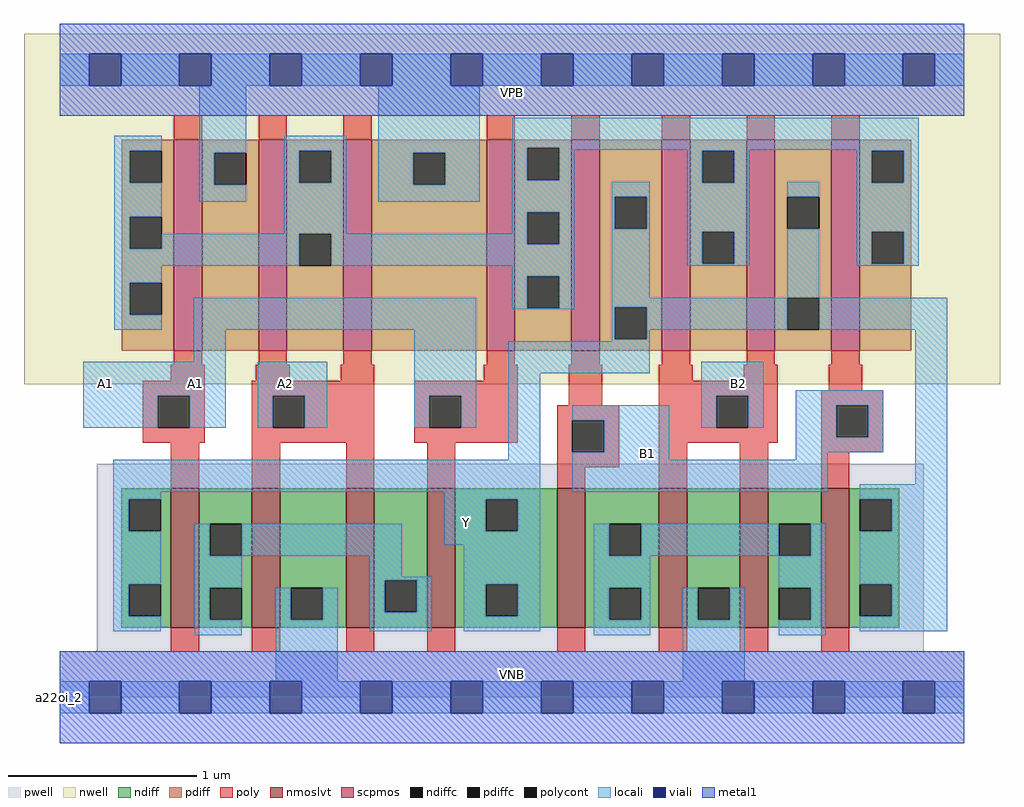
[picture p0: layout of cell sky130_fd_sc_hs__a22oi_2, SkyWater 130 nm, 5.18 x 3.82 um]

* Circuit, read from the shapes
.subckt sky130_fd_sc_hs__a22oi_2 A1 A2 B1 B2 VGND VNB VPB VPWR Y
XM1 n1 A1 Y VNB sky130_fd_pr__nfet_01v8_lvt w=0.74 l=0.15 m=2
XM2 VGND A2 n1 VNB sky130_fd_pr__nfet_01v8_lvt w=0.74 l=0.15 m=2
XM3 n2 B1 Y VNB sky130_fd_pr__nfet_01v8_lvt w=0.74 l=0.15 m=2
XM4 VGND B2 n2 VNB sky130_fd_pr__nfet_01v8_lvt w=0.74 l=0.15 m=2
XM5 VPWR A1 n3 VPB sky130_fd_pr__pfet_01v8 w=1.12 l=0.15 m=2
XM6 n3 A2 VPWR VPB sky130_fd_pr__pfet_01v8 w=1.12 l=0.15 m=2
XM7 Y B1 n3 VPB sky130_fd_pr__pfet_01v8 w=1.12 l=0.15 m=2
XM8 n3 B2 Y VPB sky130_fd_pr__pfet_01v8 w=1.12 l=0.15 m=2
.ends

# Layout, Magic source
magic
tech sky130A
magscale 1 2
<< nwell >>
rect -38 332 998 704
<< pwell >>
rect 39 49 917 248
rect 0 0 960 49
<< scpmos >>
rect 121 368 151 592
rect 211 368 241 592
rect 301 368 331 592
rect 453 368 483 592
rect 543 368 573 592
rect 639 368 669 592
rect 729 368 759 592
rect 819 368 849 592
<< nmoslvt >>
rect 118 74 148 222
rect 204 74 234 222
rect 304 74 334 222
rect 390 74 420 222
rect 528 74 558 222
rect 636 74 666 222
rect 722 74 752 222
rect 808 74 838 222
<< ndiff >>
rect 65 210 118 222
rect 65 176 73 210
rect 107 176 118 210
rect 65 120 118 176
rect 65 86 73 120
rect 107 86 118 120
rect 65 74 118 86
rect 148 184 204 222
rect 148 150 159 184
rect 193 150 204 184
rect 148 116 204 150
rect 148 82 159 116
rect 193 82 204 116
rect 148 74 204 82
rect 234 116 304 222
rect 234 82 245 116
rect 279 82 304 116
rect 234 74 304 82
rect 334 124 390 222
rect 334 90 345 124
rect 379 90 390 124
rect 334 74 390 90
rect 420 210 528 222
rect 420 176 452 210
rect 486 176 528 210
rect 420 120 528 176
rect 420 86 452 120
rect 486 86 528 120
rect 420 74 528 86
rect 558 184 636 222
rect 558 150 583 184
rect 617 150 636 184
rect 558 116 636 150
rect 558 82 583 116
rect 617 82 636 116
rect 558 74 636 82
rect 666 116 722 222
rect 666 82 677 116
rect 711 82 722 116
rect 666 74 722 82
rect 752 184 808 222
rect 752 150 763 184
rect 797 150 808 184
rect 752 116 808 150
rect 752 82 763 116
rect 797 82 808 116
rect 752 74 808 82
rect 838 210 891 222
rect 838 176 849 210
rect 883 176 891 210
rect 838 120 891 176
rect 838 86 849 120
rect 883 86 891 120
rect 838 74 891 86
<< pdiff >>
rect 66 580 121 592
rect 66 546 74 580
rect 108 546 121 580
rect 66 510 121 546
rect 66 476 74 510
rect 108 476 121 510
rect 66 440 121 476
rect 66 406 74 440
rect 108 406 121 440
rect 66 368 121 406
rect 151 578 211 592
rect 151 544 164 578
rect 198 544 211 578
rect 151 368 211 544
rect 241 580 301 592
rect 241 546 254 580
rect 288 546 301 580
rect 241 492 301 546
rect 241 458 254 492
rect 288 458 301 492
rect 241 368 301 458
rect 331 578 453 592
rect 331 544 375 578
rect 409 544 453 578
rect 331 368 453 544
rect 483 583 543 592
rect 483 549 496 583
rect 530 549 543 583
rect 483 515 543 549
rect 483 481 496 515
rect 530 481 543 515
rect 483 447 543 481
rect 483 413 496 447
rect 530 413 543 447
rect 483 368 543 413
rect 573 531 639 592
rect 573 497 589 531
rect 623 497 639 531
rect 573 414 639 497
rect 573 380 589 414
rect 623 380 639 414
rect 573 368 639 380
rect 669 580 729 592
rect 669 546 682 580
rect 716 546 729 580
rect 669 494 729 546
rect 669 460 682 494
rect 716 460 729 494
rect 669 368 729 460
rect 759 531 819 592
rect 759 497 772 531
rect 806 497 819 531
rect 759 424 819 497
rect 759 390 772 424
rect 806 390 819 424
rect 759 368 819 390
rect 849 580 904 592
rect 849 546 862 580
rect 896 546 904 580
rect 849 494 904 546
rect 849 460 862 494
rect 896 460 904 494
rect 849 368 904 460
<< ndiffc >>
rect 73 176 107 210
rect 73 86 107 120
rect 159 150 193 184
rect 159 82 193 116
rect 245 82 279 116
rect 345 90 379 124
rect 452 176 486 210
rect 452 86 486 120
rect 583 150 617 184
rect 583 82 617 116
rect 677 82 711 116
rect 763 150 797 184
rect 763 82 797 116
rect 849 176 883 210
rect 849 86 883 120
<< pdiffc >>
rect 74 546 108 580
rect 74 476 108 510
rect 74 406 108 440
rect 164 544 198 578
rect 254 546 288 580
rect 254 458 288 492
rect 375 544 409 578
rect 496 549 530 583
rect 496 481 530 515
rect 496 413 530 447
rect 589 497 623 531
rect 589 380 623 414
rect 682 546 716 580
rect 682 460 716 494
rect 772 497 806 531
rect 772 390 806 424
rect 862 546 896 580
rect 862 460 896 494
<< poly >>
rect 121 592 151 618
rect 211 592 241 618
rect 301 592 331 618
rect 453 592 483 618
rect 543 592 573 618
rect 639 592 669 618
rect 729 592 759 618
rect 819 592 849 618
rect 121 353 151 368
rect 211 353 241 368
rect 301 353 331 368
rect 453 353 483 368
rect 543 353 573 368
rect 639 353 669 368
rect 729 353 759 368
rect 819 353 849 368
rect 118 336 154 353
rect 208 336 244 353
rect 298 336 334 353
rect 450 336 486 353
rect 88 320 154 336
rect 88 286 104 320
rect 138 286 154 320
rect 88 270 154 286
rect 204 320 334 336
rect 204 286 226 320
rect 260 286 334 320
rect 204 270 334 286
rect 376 320 486 336
rect 376 286 392 320
rect 426 286 486 320
rect 540 310 576 353
rect 636 336 672 353
rect 726 336 762 353
rect 636 320 762 336
rect 816 326 852 353
rect 376 270 486 286
rect 528 294 594 310
rect 118 222 148 270
rect 204 222 234 270
rect 304 222 334 270
rect 390 222 420 270
rect 528 260 544 294
rect 578 260 594 294
rect 528 244 594 260
rect 636 286 697 320
rect 731 286 762 320
rect 636 270 762 286
rect 808 310 874 326
rect 808 276 824 310
rect 858 276 874 310
rect 528 222 558 244
rect 636 222 666 270
rect 722 222 752 270
rect 808 260 874 276
rect 808 222 838 260
rect 118 48 148 74
rect 204 48 234 74
rect 304 48 334 74
rect 390 48 420 74
rect 528 48 558 74
rect 636 48 666 74
rect 722 48 752 74
rect 808 48 838 74
<< polycont >>
rect 104 286 138 320
rect 226 286 260 320
rect 392 286 426 320
rect 544 260 578 294
rect 697 286 731 320
rect 824 276 858 310
<< locali >>
rect 0 649 31 683
rect 65 649 127 683
rect 161 649 223 683
rect 257 649 319 683
rect 353 649 415 683
rect 449 649 511 683
rect 545 649 607 683
rect 641 649 703 683
rect 737 649 799 683
rect 833 649 895 683
rect 929 649 960 683
rect 58 580 108 596
rect 58 546 74 580
rect 58 510 108 546
rect 148 578 198 649
rect 148 544 164 578
rect 148 526 198 544
rect 238 580 304 596
rect 238 546 254 580
rect 288 546 304 580
rect 58 476 74 510
rect 238 492 304 546
rect 338 578 446 649
rect 338 544 375 578
rect 409 544 446 578
rect 338 526 446 544
rect 480 583 912 615
rect 480 549 496 583
rect 530 581 912 583
rect 530 549 546 581
rect 480 515 546 549
rect 666 580 732 581
rect 480 492 496 515
rect 108 476 254 492
rect 58 458 254 476
rect 288 481 496 492
rect 530 481 546 515
rect 288 458 546 481
rect 58 440 108 458
rect 58 406 74 440
rect 480 447 546 458
rect 58 390 108 406
rect 142 390 442 424
rect 480 413 496 447
rect 530 413 546 447
rect 480 412 546 413
rect 586 531 626 547
rect 586 497 589 531
rect 623 497 626 531
rect 586 424 626 497
rect 666 546 682 580
rect 716 546 732 580
rect 846 580 912 581
rect 666 494 732 546
rect 666 460 682 494
rect 716 460 732 494
rect 666 458 732 460
rect 772 531 806 547
rect 772 424 806 497
rect 846 546 862 580
rect 896 546 912 580
rect 846 494 912 546
rect 846 460 862 494
rect 896 460 912 494
rect 846 458 912 460
rect 586 414 772 424
rect 142 356 176 390
rect 25 320 176 356
rect 25 286 104 320
rect 138 286 176 320
rect 210 320 284 356
rect 210 286 226 320
rect 260 286 284 320
rect 376 320 442 390
rect 586 380 589 414
rect 623 390 772 414
rect 806 390 942 424
rect 623 380 626 390
rect 586 378 626 380
rect 376 286 392 320
rect 426 286 442 320
rect 476 344 626 378
rect 476 252 510 344
rect 681 320 747 356
rect 57 218 510 252
rect 544 294 647 310
rect 578 260 647 294
rect 681 286 697 320
rect 731 286 747 320
rect 781 310 874 326
rect 544 252 647 260
rect 781 276 824 310
rect 858 276 874 310
rect 781 260 874 276
rect 781 252 815 260
rect 544 218 815 252
rect 908 226 942 390
rect 57 210 107 218
rect 57 176 73 210
rect 408 210 510 218
rect 57 120 107 176
rect 57 86 73 120
rect 57 70 107 86
rect 143 150 159 184
rect 193 150 363 184
rect 408 176 452 210
rect 486 176 510 210
rect 849 210 942 226
rect 408 162 510 176
rect 143 116 193 150
rect 329 128 363 150
rect 329 124 395 128
rect 143 82 159 116
rect 143 66 193 82
rect 229 82 245 116
rect 279 82 295 116
rect 229 17 295 82
rect 329 90 345 124
rect 379 90 395 124
rect 329 70 395 90
rect 429 120 510 162
rect 429 86 452 120
rect 486 86 510 120
rect 429 70 510 86
rect 567 150 583 184
rect 617 150 763 184
rect 797 150 813 184
rect 567 116 627 150
rect 763 116 813 150
rect 567 82 583 116
rect 617 82 627 116
rect 567 66 627 82
rect 661 82 677 116
rect 711 82 727 116
rect 661 17 727 82
rect 797 82 813 116
rect 763 66 813 82
rect 883 176 942 210
rect 849 120 942 176
rect 883 86 942 120
rect 849 70 942 86
rect 0 -17 31 17
rect 65 -17 127 17
rect 161 -17 223 17
rect 257 -17 319 17
rect 353 -17 415 17
rect 449 -17 511 17
rect 545 -17 607 17
rect 641 -17 703 17
rect 737 -17 799 17
rect 833 -17 895 17
rect 929 -17 960 17
<< viali >>
rect 31 649 65 683
rect 127 649 161 683
rect 223 649 257 683
rect 319 649 353 683
rect 415 649 449 683
rect 511 649 545 683
rect 607 649 641 683
rect 703 649 737 683
rect 799 649 833 683
rect 895 649 929 683
rect 31 -17 65 17
rect 127 -17 161 17
rect 223 -17 257 17
rect 319 -17 353 17
rect 415 -17 449 17
rect 511 -17 545 17
rect 607 -17 641 17
rect 703 -17 737 17
rect 799 -17 833 17
rect 895 -17 929 17
<< metal1 >>
rect 0 683 960 715
rect 0 649 31 683
rect 65 649 127 683
rect 161 649 223 683
rect 257 649 319 683
rect 353 649 415 683
rect 449 649 511 683
rect 545 649 607 683
rect 641 649 703 683
rect 737 649 799 683
rect 833 649 895 683
rect 929 649 960 683
rect 0 617 960 649
rect 0 17 960 49
rect 0 -17 31 17
rect 65 -17 127 17
rect 161 -17 223 17
rect 257 -17 319 17
rect 353 -17 415 17
rect 449 -17 511 17
rect 545 -17 607 17
rect 641 -17 703 17
rect 737 -17 799 17
rect 833 -17 895 17
rect 929 -17 960 17
rect 0 -49 960 -17
<< labels >>
rlabel comment s 0 0 0 0 4 a22oi_2
flabel pwell s 0 0 960 49 0 FreeSans 200 0 0 0 VNB
port 6 nsew ground bidirectional
flabel nwell s 0 617 960 666 0 FreeSans 200 0 0 0 VPB
port 7 nsew power bidirectional
flabel metal1 s 0 617 960 666 0 FreeSans 340 0 0 0 VPWR
port 8 nsew power bidirectional
flabel metal1 s 0 0 960 49 0 FreeSans 340 0 0 0 VGND
port 5 nsew ground bidirectional
flabel locali s 703 316 737 350 0 FreeSans 340 0 0 0 B2
port 4 nsew signal input
flabel locali s 223 316 257 350 0 FreeSans 340 0 0 0 A2
port 2 nsew signal input
flabel locali s 31 316 65 350 0 FreeSans 340 0 0 0 A1
port 1 nsew signal input
flabel locali s 127 316 161 350 0 FreeSans 340 0 0 0 A1
port 1 nsew signal input
flabel locali s 415 168 449 202 0 FreeSans 340 0 0 0 Y
port 9 nsew signal output
flabel locali s 607 242 641 276 0 FreeSans 340 0 0 0 B1
port 3 nsew signal input
<< properties >>
string LEFsite unit
string LEFclass CORE
string FIXED_BBOX 0 0 960 666
string GDS_FILE $PDKPATH/libs.ref/sky130_fd_sc_hs/gds/sky130_fd_sc_hs.gds
string LEFsymmetry X Y
string GDS_END 361142
string GDS_START 352900
<< end >>
